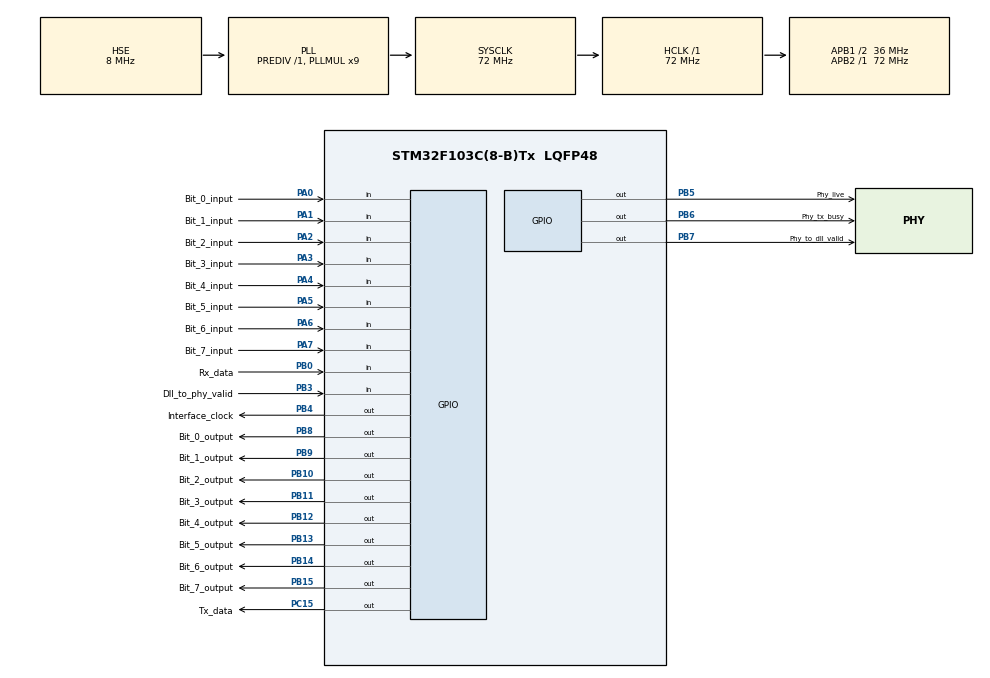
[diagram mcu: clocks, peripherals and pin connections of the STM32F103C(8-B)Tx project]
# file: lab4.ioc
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Mcu.Family=STM32F1
Mcu.Name=STM32F103C(8-B)Tx
Mcu.Package=LQFP48
Mcu.UserConstants=tx_period,100;presc_val,10;divider,3
NVIC.PriorityGroup=NVIC_PRIORITYGROUP_4
NVIC.TIM2_IRQn=true\:0\:0\:false\:false\:true\:true
NVIC.TIM4_IRQn=true\:0\:0\:false\:false\:true\:true
PA0-WKUP.GPIO_Label=Bit_0_input
PA0-WKUP.GPIO_PuPd=GPIO_PULLDOWN
PA0-WKUP.Signal=GPIO_Input
PA1.GPIO_Label=Bit_1_input
PA1.GPIO_PuPd=GPIO_PULLDOWN
PA1.Signal=GPIO_Input
PA13.Mode=Serial_Wire
PA13.Signal=SYS_JTMS-SWDIO
PA14.Mode=Serial_Wire
PA14.Signal=SYS_JTCK-SWCLK
PA2.GPIO_Label=Bit_2_input
PA2.GPIO_PuPd=GPIO_PULLDOWN
PA2.Signal=GPIO_Input
PA3.GPIO_Label=Bit_3_input
PA3.GPIO_PuPd=GPIO_PULLDOWN
PA3.Signal=GPIO_Input
PA4.GPIO_Label=Bit_4_input
PA4.GPIO_PuPd=GPIO_PULLDOWN
PA4.Signal=GPIO_Input
PA5.GPIO_Label=Bit_5_input
PA5.GPIO_PuPd=GPIO_PULLDOWN
PA5.Signal=GPIO_Input
PA6.GPIO_Label=Bit_6_input
PA6.GPIO_PuPd=GPIO_PULLDOWN
PA6.Signal=GPIO_Input
PA7.GPIO_Label=Bit_7_input
PA7.GPIO_PuPd=GPIO_PULLDOWN
PA7.Signal=GPIO_Input
PB0.GPIO_Label=Rx_data
PB0.GPIO_PuPd=GPIO_PULLDOWN
PB0.Signal=GPIO_Input
PB10.GPIO_Label=Bit_2_output
PB10.Signal=GPIO_Output
PB11.GPIO_Label=Bit_3_output
PB11.Signal=GPIO_Output
PB12.GPIO_Label=Bit_4_output
PB12.Signal=GPIO_Output
PB13.GPIO_Label=Bit_5_output
PB13.Signal=GPIO_Output
PB14.GPIO_Label=Bit_6_output
PB14.Signal=GPIO_Output
PB15.GPIO_Label=Bit_7_output
PB15.Signal=GPIO_Output
PB3.GPIO_Label=Dll_to_phy_valid
PB3.GPIO_PuPd=GPIO_PULLDOWN
PB3.Signal=GPIO_Input
PB4.GPIO_Label=Interface_clock
PB4.Signal=GPIO_Output
PB5.GPIO_Label=Phy_live
PB5.Signal=GPIO_Output
PB6.GPIO_Label=Phy_tx_busy
PB6.Signal=GPIO_Output
PB7.GPIO_Label=Phy_to_dll_valid
PB7.Signal=GPIO_Output
PB8.GPIO_Label=Bit_0_output
PB8.Signal=GPIO_Output
PB9.GPIO_Label=Bit_1_output
PB9.Signal=GPIO_Output
PC15-OSC32_OUT.GPIO_Label=Tx_data
PC15-OSC32_OUT.Signal=GPIO_Output
PD0-OSC_IN.Mode=HSE-External-Oscillator
PD0-OSC_IN.Signal=RCC_OSC_IN
PD1-OSC_OUT.Mode=HSE-External-Oscillator
PD1-OSC_OUT.Signal=RCC_OSC_OUT
ProjectManager.HeapSize=0x200
ProjectManager.StackSize=0x400
ProjectManager.TargetToolchain=MDK-ARM V5
RCC.AHBFreq_Value=72000000
RCC.APB1CLKDivider=RCC_HCLK_DIV2
RCC.APB1Freq_Value=36000000
RCC.APB1TimFreq_Value=72000000
RCC.APB2Freq_Value=72000000
RCC.APB2TimFreq_Value=72000000
RCC.HCLKFreq_Value=72000000
RCC.PLLMUL=RCC_PLL_MUL9
RCC.PLLSourceVirtual=RCC_PLLSOURCE_HSE
RCC.SYSCLKFreq_VALUE=72000000
RCC.SYSCLKSource=RCC_SYSCLKSOURCE_PLLCLK
RCC.USBFreq_Value=72000000
TIM2.AutoReloadPreload=TIM_AUTORELOAD_PRELOAD_ENABLE
TIM2.ClockDivision=TIM_CLOCKDIVISION_DIV1
TIM2.CounterMode=TIM_COUNTERMODE_UP
TIM2.Period=tx_period-1
TIM2.Prescaler=presc_val-1
TIM4.AutoReloadPreload=TIM_AUTORELOAD_PRELOAD_ENABLE
TIM4.Period=tx_period/divider-1
TIM4.Prescaler=presc_val-1
VP_TIM2_VS_ClockSourceINT.Mode=Internal
VP_TIM4_VS_ClockSourceINT.Mode=Internal
board=custom

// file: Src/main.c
/**
  ******************************************************************************
  * @file           : main.c
  * @brief          : Main program body
  ******************************************************************************
  ** This notice applies to any and all portions of this file
  * that are not between comment pairs USER CODE BEGIN and
  * USER CODE END. Other portions of this file, whether
  * inserted by the user or by software development tools
  * are owned by their respective copyright owners.
  *
  * COPYRIGHT(c) 2020 STMicroelectronics
  *
  * Redistribution and use in source and binary forms, with or without modification,
  * are permitted provided that the following conditions are met:
  *   1. Redistributions of source code must retain the above copyright notice,
  *      this list of conditions and the following disclaimer.
  *   2. Redistributions in binary form must reproduce the above copyright notice,
  *      this list of conditions and the following disclaimer in the documentation
  *      and/or other materials provided with the distribution.
  *   3. Neither the name of STMicroelectronics nor the names of its contributors
  *      may be used to endorse or promote products derived from this software
  *      without specific prior written permission.
  *
  * THIS SOFTWARE IS PROVIDED BY THE COPYRIGHT HOLDERS AND CONTRIBUTORS "AS IS"
  * AND ANY EXPRESS OR IMPLIED WARRANTIES, INCLUDING, BUT NOT LIMITED TO, THE
  * IMPLIED WARRANTIES OF MERCHANTABILITY AND FITNESS FOR A PARTICULAR PURPOSE ARE
  * DISCLAIMED. IN NO EVENT SHALL THE COPYRIGHT HOLDER OR CONTRIBUTORS BE LIABLE
  * FOR ANY DIRECT, INDIRECT, INCIDENTAL, SPECIAL, EXEMPLARY, OR CONSEQUENTIAL
  * DAMAGES (INCLUDING, BUT NOT LIMITED TO, PROCUREMENT OF SUBSTITUTE GOODS OR
  * SERVICES; LOSS OF USE, DATA, OR PROFITS; OR BUSINESS INTERRUPTION) HOWEVER
  * CAUSED AND ON ANY THEORY OF LIABILITY, WHETHER IN CONTRACT, STRICT LIABILITY,
  * OR TORT (INCLUDING NEGLIGENCE OR OTHERWISE) ARISING IN ANY WAY OUT OF THE USE
  * OF THIS SOFTWARE, EVEN IF ADVISED OF THE POSSIBILITY OF SUCH DAMAGE.
  *
  ******************************************************************************
  */
#include "main.h"
#include "stm32f1xx_hal.h"

TIM_HandleTypeDef htim2;
TIM_HandleTypeDef htim4;

/* USER CODE BEGIN PV */
/* Private variables ---------------------------------------------------------*/

int sam[3] = {0},sample_ready = 0,rx_count =0;
uint8_t start_bit = 1;
uint8_t tx_bit=0,rx_bit = 0,was_down = 0;
uint8_t parity_bit=0;
uint8_t phy_tx_busy = 0;
uint8_t dll_to_phy_tx_bus_vaild =0;
uint8_t phy_to_dll_rx_bus_valid=0;
uint8_t dll_has_new_data = 0;
uint8_t phy_has_new_data = 0;
uint32_t idr_data = 0;
uint32_t odr_data = 0;
uint32_t* idr_adress = (uint32_t*)(GPIO_A + GPIO_IDR);
uint32_t* odr_adress = (uint32_t*)(GPIO_B + GPIO_ODR);
uint8_t interface_clock=0,tx_clock=0,rx_hand = 0;
uint8_t interface_old_clock =0,tx_old_clock =0;
uint8_t tx_rising_edge=0,rx_falling_edge=0,tx_falling_edge = 0;
uint8_t interface_rising_edge=0,interface_falling_edge = 0;
static int8_t tx_counter = 0, rx_counter = 0;

/* USER CODE END PV */

void SystemClock_Config(void);
static void MX_GPIO_Init(void);
static void MX_TIM2_Init(void);
static void MX_TIM4_Init(void);

/* USER CODE BEGIN PFP */
/* Private function prototypes -----------------------------------------------*/
void phy_layer(void);
void interface(void);
void dll_to_phy_interface(void);
void phy_tx(void);
void phy_rx(void);
void phy_to_dll_interface(void);
void read_phy_pins(void);
/* USER CODE END PFP */

int main(void)
{

  /* MCU Configuration----------------------------------------------------------*/

  /* Reset of all peripherals, Initializes the Flash interface and the Systick. */
  HAL_Init();

  /* Configure the system clock */
  SystemClock_Config();

  /* Initialize all configured peripherals */
  MX_GPIO_Init();
  MX_TIM2_Init();
  MX_TIM4_Init();
  /* USER CODE BEGIN 2 */
	HAL_TIM_Base_Start_IT(&htim2);
	//HAL_TIM_Base_Start_IT(&htim3);
	//HAL_TIM_Base_Start_IT(&htim4);
	HAL_GPIO_WritePin(Phy_live_GPIO_Port,Phy_live_Pin,GPIO_PIN_SET);//Set Alive Pin
	HAL_GPIO_WritePin(Tx_data_GPIO_Port,Tx_data_Pin,GPIO_PIN_SET); //Send Idle
  /* USER CODE END 2 */

  /* Infinite loop */
  /* USER CODE BEGIN WHILE */
  while (1)
  {

		//read_phy_pins();
	dll_to_phy_interface();
	phy_tx();
	phy_rx();
	phy_to_dll_interface();

  /* USER CODE END WHILE */

  }

}

void SystemClock_Config(void)
{

  RCC_OscInitTypeDef RCC_OscInitStruct;
  RCC_ClkInitTypeDef RCC_ClkInitStruct;

    /**Initializes the CPU, AHB and APB busses clocks
    */
  RCC_OscInitStruct.OscillatorType = RCC_OSCILLATORTYPE_HSE;
  RCC_OscInitStruct.HSEState = RCC_HSE_ON;
  RCC_OscInitStruct.HSEPredivValue = RCC_HSE_PREDIV_DIV1;
  RCC_OscInitStruct.HSIState = RCC_HSI_ON;
  RCC_OscInitStruct.PLL.PLLState = RCC_PLL_ON;
  RCC_OscInitStruct.PLL.PLLSource = RCC_PLLSOURCE_HSE;
  RCC_OscInitStruct.PLL.PLLMUL = RCC_PLL_MUL9;
  if (HAL_RCC_OscConfig(&RCC_OscInitStruct) != HAL_OK)
  {
    _Error_Handler(__FILE__, __LINE__);
  }

    /**Initializes the CPU, AHB and APB busses clocks
    */
  RCC_ClkInitStruct.ClockType = RCC_CLOCKTYPE_HCLK|RCC_CLOCKTYPE_SYSCLK
                              |RCC_CLOCKTYPE_PCLK1|RCC_CLOCKTYPE_PCLK2;
  RCC_ClkInitStruct.SYSCLKSource = RCC_SYSCLKSOURCE_PLLCLK;
  RCC_ClkInitStruct.AHBCLKDivider = RCC_SYSCLK_DIV1;
  RCC_ClkInitStruct.APB1CLKDivider = RCC_HCLK_DIV2;
  RCC_ClkInitStruct.APB2CLKDivider = RCC_HCLK_DIV1;

  if (HAL_RCC_ClockConfig(&RCC_ClkInitStruct, FLASH_LATENCY_2) != HAL_OK)
  {
    _Error_Handler(__FILE__, __LINE__);
  }

    /**Configure the Systick interrupt time
    */
  HAL_SYSTICK_Config(HAL_RCC_GetHCLKFreq()/1000);

    /**Configure the Systick
    */
  HAL_SYSTICK_CLKSourceConfig(SYSTICK_CLKSOURCE_HCLK);

  /* SysTick_IRQn interrupt configuration */
  HAL_NVIC_SetPriority(SysTick_IRQn, 0, 0);
}

/* TIM2 init function */
static void MX_TIM2_Init(void)
{

  TIM_ClockConfigTypeDef sClockSourceConfig;
  TIM_MasterConfigTypeDef sMasterConfig;

  htim2.Instance = TIM2;
  htim2.Init.Prescaler = presc_val-1;
  htim2.Init.CounterMode = TIM_COUNTERMODE_UP;
  htim2.Init.Period = tx_period-1;
  htim2.Init.ClockDivision = TIM_CLOCKDIVISION_DIV1;
  htim2.Init.AutoReloadPreload = TIM_AUTORELOAD_PRELOAD_ENABLE;
  if (HAL_TIM_Base_Init(&htim2) != HAL_OK)
  {
    _Error_Handler(__FILE__, __LINE__);
  }

  sClockSourceConfig.ClockSource = TIM_CLOCKSOURCE_INTERNAL;
  if (HAL_TIM_ConfigClockSource(&htim2, &sClockSourceConfig) != HAL_OK)
  {
    _Error_Handler(__FILE__, __LINE__);
  }

  sMasterConfig.MasterOutputTrigger = TIM_TRGO_RESET;
  sMasterConfig.MasterSlaveMode = TIM_MASTERSLAVEMODE_DISABLE;
  if (HAL_TIMEx_MasterConfigSynchronization(&htim2, &sMasterConfig) != HAL_OK)
  {
    _Error_Handler(__FILE__, __LINE__);
  }

}

/* TIM4 init function */
static void MX_TIM4_Init(void)
{

  TIM_ClockConfigTypeDef sClockSourceConfig;
  TIM_MasterConfigTypeDef sMasterConfig;

  htim4.Instance = TIM4;
  htim4.Init.Prescaler = presc_val-1;
  htim4.Init.CounterMode = TIM_COUNTERMODE_UP;
  htim4.Init.Period = tx_period/divider-1;
  htim4.Init.ClockDivision = TIM_CLOCKDIVISION_DIV1;
  htim4.Init.AutoReloadPreload = TIM_AUTORELOAD_PRELOAD_ENABLE;
  if (HAL_TIM_Base_Init(&htim4) != HAL_OK)
  {
    _Error_Handler(__FILE__, __LINE__);
  }

  sClockSourceConfig.ClockSource = TIM_CLOCKSOURCE_INTERNAL;
  if (HAL_TIM_ConfigClockSource(&htim4, &sClockSourceConfig) != HAL_OK)
  {
    _Error_Handler(__FILE__, __LINE__);
  }

  sMasterConfig.MasterOutputTrigger = TIM_TRGO_RESET;
  sMasterConfig.MasterSlaveMode = TIM_MASTERSLAVEMODE_DISABLE;
  if (HAL_TIMEx_MasterConfigSynchronization(&htim4, &sMasterConfig) != HAL_OK)
  {
    _Error_Handler(__FILE__, __LINE__);
  }

}

/** Configure pins as
        * Analog
        * Input
        * Output
        * EVENT_OUT
        * EXTI
*/
static void MX_GPIO_Init(void)
{

  GPIO_InitTypeDef GPIO_InitStruct;

  /* GPIO Ports Clock Enable */
  __HAL_RCC_GPIOC_CLK_ENABLE();
  __HAL_RCC_GPIOD_CLK_ENABLE();
  __HAL_RCC_GPIOA_CLK_ENABLE();
  __HAL_RCC_GPIOB_CLK_ENABLE();

  /*Configure GPIO pin Output Level */
  HAL_GPIO_WritePin(Tx_data_GPIO_Port, Tx_data_Pin, GPIO_PIN_RESET);

  /*Configure GPIO pin Output Level */
  HAL_GPIO_WritePin(GPIOB, Bit_2_output_Pin|Bit_3_output_Pin|Bit_4_output_Pin|Bit_5_output_Pin
                          |Bit_6_output_Pin|Bit_7_output_Pin|Interface_clock_Pin|Phy_live_Pin
                          |Phy_tx_busy_Pin|Phy_to_dll_valid_Pin|Bit_0_output_Pin|Bit_1_output_Pin, GPIO_PIN_RESET);

  /*Configure GPIO pin : Tx_data_Pin */
  GPIO_InitStruct.Pin = Tx_data_Pin;
  GPIO_InitStruct.Mode = GPIO_MODE_OUTPUT_PP;
  GPIO_InitStruct.Pull = GPIO_NOPULL;
  GPIO_InitStruct.Speed = GPIO_SPEED_FREQ_LOW;
  HAL_GPIO_Init(Tx_data_GPIO_Port, &GPIO_InitStruct);

  /*Configure GPIO pins : Bit_0_input_Pin Bit_1_input_Pin Bit_2_input_Pin Bit_3_input_Pin
                           Bit_4_input_Pin Bit_5_input_Pin Bit_6_input_Pin Bit_7_input_Pin */
  GPIO_InitStruct.Pin = Bit_0_input_Pin|Bit_1_input_Pin|Bit_2_input_Pin|Bit_3_input_Pin
                          |Bit_4_input_Pin|Bit_5_input_Pin|Bit_6_input_Pin|Bit_7_input_Pin;
  GPIO_InitStruct.Mode = GPIO_MODE_INPUT;
  GPIO_InitStruct.Pull = GPIO_PULLDOWN;
  HAL_GPIO_Init(GPIOA, &GPIO_InitStruct);

  /*Configure GPIO pins : Rx_data_Pin Dll_to_phy_valid_Pin */
  GPIO_InitStruct.Pin = Rx_data_Pin|Dll_to_phy_valid_Pin;
  GPIO_InitStruct.Mode = GPIO_MODE_INPUT;
  GPIO_InitStruct.Pull = GPIO_PULLDOWN;
  HAL_GPIO_Init(GPIOB, &GPIO_InitStruct);

  /*Configure GPIO pins : Bit_2_output_Pin Bit_3_output_Pin Bit_4_output_Pin Bit_5_output_Pin
                           Bit_6_output_Pin Bit_7_output_Pin Interface_clock_Pin Phy_live_Pin
                           Phy_tx_busy_Pin Phy_to_dll_valid_Pin Bit_0_output_Pin Bit_1_output_Pin */
  GPIO_InitStruct.Pin = Bit_2_output_Pin|Bit_3_output_Pin|Bit_4_output_Pin|Bit_5_output_Pin
                          |Bit_6_output_Pin|Bit_7_output_Pin|Interface_clock_Pin|Phy_live_Pin
                          |Phy_tx_busy_Pin|Phy_to_dll_valid_Pin|Bit_0_output_Pin|Bit_1_output_Pin;
  GPIO_InitStruct.Mode = GPIO_MODE_OUTPUT_PP;
  GPIO_InitStruct.Pull = GPIO_NOPULL;
  GPIO_InitStruct.Speed = GPIO_SPEED_FREQ_LOW;
  HAL_GPIO_Init(GPIOB, &GPIO_InitStruct);

}

/* USER CODE BEGIN 4 */
void phy_layer(void){

}

void dll_to_phy_interface(){

	if(interface_falling_edge){
		dll_to_phy_tx_bus_vaild=HAL_GPIO_ReadPin(Dll_to_phy_valid_GPIO_Port,Dll_to_phy_valid_Pin);
		phy_tx_busy=HAL_GPIO_ReadPin(Phy_tx_busy_GPIO_Port,Phy_tx_busy_Pin);
		if(dll_to_phy_tx_bus_vaild==1&&phy_tx_busy==0)
		{
			idr_data = *idr_adress & 0xff;
			dll_has_new_data = valid;
		}
	}
}
void phy_tx(){
	uint8_t mask_tx=0x1;

	if(dll_has_new_data&&tx_rising_edge&&was_down){
		if(tx_counter==0){	//adding start and stop bits to the frame
			HAL_GPIO_WritePin(Phy_tx_busy_GPIO_Port,Phy_tx_busy_Pin,GPIO_PIN_SET);
			idr_data|=two_stop_bits;
			idr_data<<=one_start_bit;
		}
		if(tx_counter<frame_size)
		{
			if(tx_counter==parity_place)
				tx_bit=parity_bit;
			else{
				tx_bit=idr_data&mask_tx;
				parity_bit^=tx_bit;
			}
			HAL_GPIO_WritePin(Tx_data_GPIO_Port,Tx_data_Pin,(GPIO_PinState)tx_bit);
			tx_counter++;
			idr_data>>=1;		//delete lsb
		}
		else{
			//reset local variables
			HAL_GPIO_WritePin(Phy_tx_busy_GPIO_Port,Phy_tx_busy_Pin,GPIO_PIN_RESET);
			dll_has_new_data = 0;
			tx_counter = 0;
			parity_bit = 0;
   }
		was_down = 0;
 }

 if(tx_falling_edge)
	 was_down = 1;
}

void phy_rx(){
	static uint32_t status=0,parity_check=0,start_bit_sampled = 0;

	if(status == start_bit_status&&!start_bit_sampled){							//if we have'nt sampled a start bit yet
		start_bit = HAL_GPIO_ReadPin(Rx_data_GPIO_Port,Rx_data_Pin);
		if(start_bit == 0)																						//if we got a start bit
		{
			HAL_TIM_Base_Start_IT(&htim4);
			odr_data = 0;
			rx_hand = 0;
			start_bit_sampled = 1;
		}
	}
  if(sample_ready){//&&start_bit_sampled){														//if we got 3 samples and start bit
		if(sam[0]+sam[1]+sam[2]>1)
			rx_bit=1;
		else
			rx_bit = 0;

		switch(status){
			case start_bit_status:{
				if(rx_bit==0)
					status = byte_status;
				break;
			}
			case byte_status:{	//byte sampling
				if(rx_counter < data_size){
					parity_check^=rx_bit;
					rx_bit<<=rx_counter;
					odr_data|=rx_bit;
					rx_counter++;
					}
				else  {	//parity sampling
					if(parity_check==rx_bit){
						status=2;
						rx_counter++;
					}
					else//parity fail
						status = reset;
				}
				break;
			}
			case stop_bits_status:{	//stop bits sampling
				if(rx_bit==1){
					if(rx_counter == last_stop_bit)
					{
						phy_has_new_data=1;
						status = reset;
					}
					else
						rx_counter++;
				}
				else//stop bit fail
					status = reset;
			break;
			}
		}
		if(status == reset)
		{
			status=0;
			start_bit=1;
			rx_counter=0;
			parity_check = 0;
			start_bit_sampled = 0;
			HAL_TIM_Base_Stop_IT(&htim4);
		}
		sample_ready = 0;
	}

}
void phy_to_dll_interface(){
static uint32_t valid_raised =0;

	if(phy_has_new_data==1&&interface_rising_edge){
		if(!valid_raised)
			{
				odr_data = odr_data<<8;
				*odr_adress=*odr_adress & 0xFFFF00FF;
				*odr_adress|=odr_data;
				HAL_GPIO_WritePin(Phy_to_dll_valid_GPIO_Port,Phy_to_dll_valid_Pin,GPIO_PIN_SET);
				valid_raised = 1;
			}
			if(valid_raised==2)
				{
					HAL_GPIO_WritePin(Phy_to_dll_valid_GPIO_Port,Phy_to_dll_valid_Pin,GPIO_PIN_RESET);
					phy_to_dll_rx_bus_valid = 0;
					phy_has_new_data = 0;
					odr_data = 0;
					valid_raised = 0;
				}
		}
		if(interface_falling_edge&&valid_raised)
			valid_raised = 2;

}

void read_phy_pins(void){

	//update edges

}

/* USER CODE END 4 */

void _Error_Handler(char *file, int line)
{
  while(1)
  {
  }
}

/************************ (C) COPYRIGHT STMicroelectronics *****END OF FILE****/
